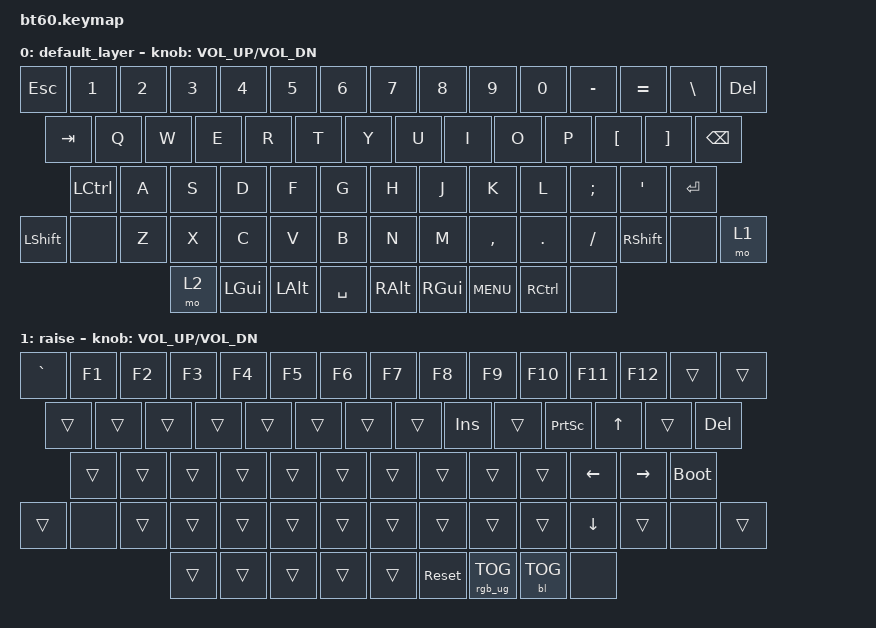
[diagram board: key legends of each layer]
#include <behaviors.dtsi>
#include <dt-bindings/zmk/keys.h>
#include <dt-bindings/zmk/bt.h>
#include <dt-bindings/zmk/rgb.h>
#include <dt-bindings/zmk/backlight.h>

/ {
	keymap {
		compatible = "zmk,keymap";

		default_layer {
				// ------------------------------------------------------------------------------------------
				// | ESC |  1  |  2  |  3  |  4  |  5  |  6  |  7  |  8  |  9  |  0  |  -  |  =  |BKSP | DEL |
				// | TAB  |  Q  |  W  |  E  |  R  |  T  |  Y  |  U  |  I  |  O  |  P  |  [  |  ]  |  |   |
				// | CAPS  |  A  |  S  |  D  |  F  |  G  |  H  |  J  |  K  |  L  |  ;  |  '  |     ENTER    |
				// |  SHIFT|NONE|  Z  |  X  |  C  |  V  |  B  |  N  |  M  |  ,  |  .  | /   | SHFT | UP | 1  |
				// |  CTL  |  WIN  |  ALT  |            SPACE              | ALT | CTRL | LEFT | DOWN | RIGHT |
				// ------------------------------------------------------------------------------------------
			bindings = <
				&kp ESC &kp N1 &kp N2 &kp N3 &kp N4 &kp N5 &kp N6 &kp N7 &kp  N8   &kp  N9 &kp  N0  &kp MINUS &kp EQUAL &kp BSLH &kp DEL
				&kp TAB  &kp Q  &kp W  &kp E  &kp R  &kp T  &kp Y  &kp U  &kp  I    &kp  O  &kp  P   &kp LBKT &kp RBKT  &kp BSPC
				&kp LCTRL  &kp A  &kp S  &kp D  &kp F  &kp G  &kp H  &kp J  &kp  K    &kp  L  &kp SEMI &kp SQT           &kp RET
				&kp LSHFT &none  &kp Z  &kp X  &kp C  &kp V  &kp B  &kp N  &kp M  &kp COMMA &kp DOT &kp FSLH    &kp RSHFT &none   &mo 1
				&mo 2 &kp LGUI &kp LALT            &kp SPACE                          &kp RALT  &kp RGUI &kp C_MENU &kp RCTRL &none
			>;
			sensor-bindings = <&inc_dec_kp C_VOL_UP C_VOL_DN>;
		};
		raise {
			bindings = <
				&kp GRAVE &kp F1 &kp F2 &kp F3 &kp F4 &kp F5 &kp F6 &kp F7 &kp  F8   &kp  F9 &kp  F10  &kp F11 &kp F12   &trans &trans
				&trans &trans &trans &trans &trans &trans &trans &trans &kp INS &trans &kp PSCRN &kp UP &trans &kp DEL
				&trans    &trans &trans &trans &trans &trans &trans &trans &trans &trans &kp LEFT  &kp RIGHT   &bootloader
				&trans &none &trans &trans &trans &trans &trans &trans &trans &trans &trans &kp DOWN &trans  &none &trans
				&trans &trans  &trans              &trans                            &trans  &sys_reset &rgb_ug RGB_TOG   &bl BL_TOG &none
			>;
			sensor-bindings = <&inc_dec_kp C_VOL_UP C_VOL_DN>;
		};
	};
};
